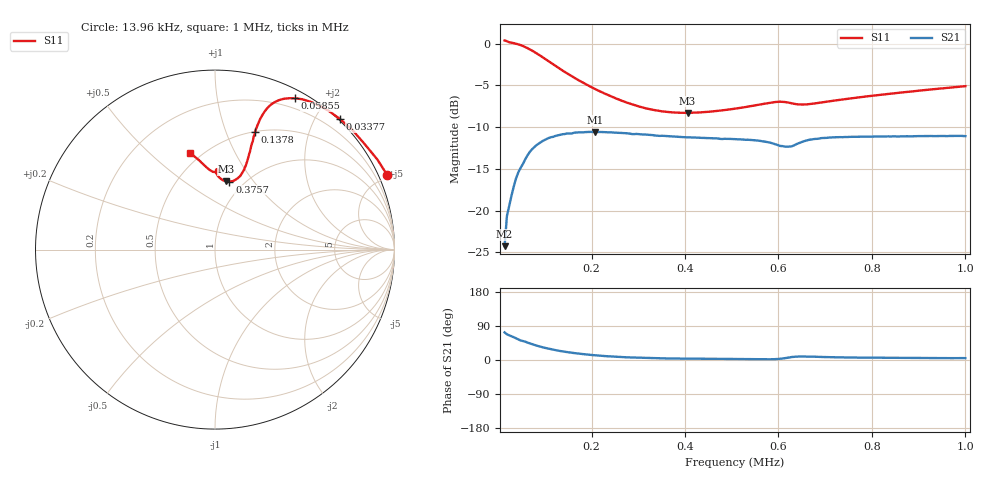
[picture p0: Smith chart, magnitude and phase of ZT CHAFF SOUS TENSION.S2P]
!Agilent Technologies,E5071C,MY46109397,A.09.54
!Date: Mon Jan 01 02:16:30 2001
!Data & Calibration Information:
!Freq	S11:SOLT1(ON)	S21:RESPT(ON)	S12:NONE(--)	S22:NONE(--)
# Hz S RI R 50
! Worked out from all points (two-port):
!   200 points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, 13.96 kHz to 1 MHz, reference 50 ohm
!   highest |S21| = -10.57 dB at 207.2 kHz (marker M1); lowest = -24.3 dB at 13.96 kHz (marker M2)
!   |S21| within 3 dB of the highest: 60.98 kHz to end of sweep
!   lowest |S11| = -8.3 dB at 405.4 kHz (marker M3), VSWR 2.25, Z = 41.7 + j37.2 ohm
!   |S11| at or under -10 dB: nowhere
!   S12 and S22 are empty: the file has one direction only
!   S11 on the Smith chart (normalised r, x): 13.96 kHz: -0.54, +4.79; 33.77 kHz: -0.02, +2.34; 58.55 kHz: 0.09, +1.66; 137.8 kHz: 0.51, +1.27; 375.7 kHz: 0.86, +0.77; 1 MHz: 0.43, +0.68
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13955  0.9604 0.4141  0.0181 0.0585  0 0  0 0
18910  0.9048 0.5018  0.0351 0.0861  0 0  0 0
28820  0.762 0.6704  0.0569 0.1095  0 0  0 0
33775  0.6965 0.7273  0.0701 0.1215  0 0  0 0
43685  0.5793 0.8036  0.0999 0.1381  0 0  0 0
58550  0.4462 0.8429  0.1359 0.1524  0 0  0 0
73415  0.3578 0.8332  0.1754 0.1551  0 0  0 0
88280  0.3023 0.7997  0.2054 0.1483  0 0  0 0
113055  0.2503 0.7251  0.242 0.131  0 0  0 0
137830  0.2231 0.6537  0.2644 0.1108  0 0  0 0
182425  0.1956 0.549  0.2838 0.0786  0 0  0 0
207200  0.1826 0.5036  0.2892 0.0639  0 0  0 0
271615  0.148 0.4225  0.2887 0.0368  0 0  0 0
345940  0.1012 0.3822  0.2794 0.022  0 0  0 0
375670  0.0807 0.3787  0.2773 0.0187  0 0  0 0
405400  0.0635 0.3799  0.2743 0.0171  0 0  0 0
509455  0.0176 0.4086  0.2673 0.0129  0 0  0 0
588735  0.00653 0.4456  0.252 0.00884  0 0  0 0
618465  0.0163 0.4449  0.2401 0.024  0 0  0 0
672970  -0.0178 0.4365  0.2645 0.0405  0 0  0 0
836485  -0.0845 0.4934  0.2769 0.0277  0 0  0 0
1000000  -0.1403 0.5387  0.2783 0.0243  0 0  0 0
